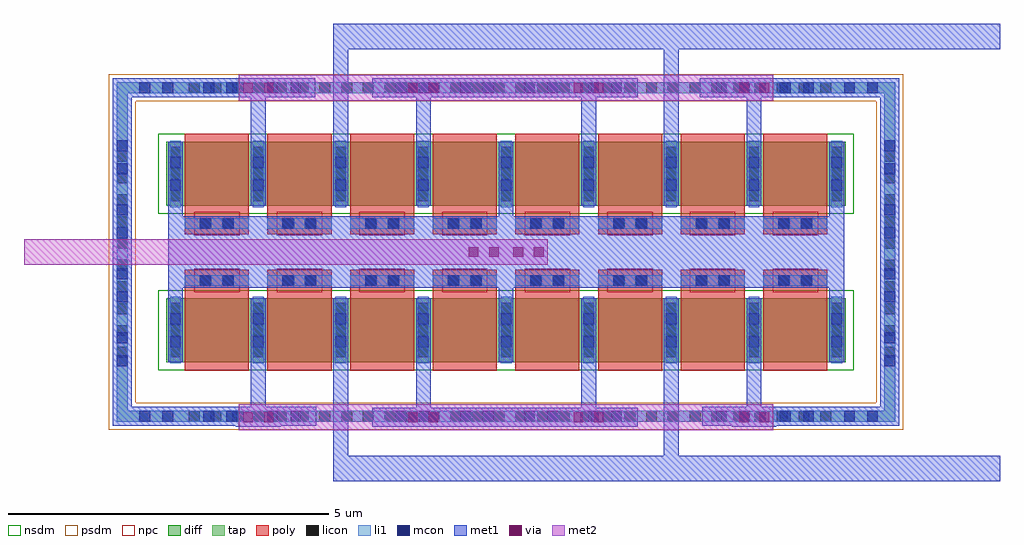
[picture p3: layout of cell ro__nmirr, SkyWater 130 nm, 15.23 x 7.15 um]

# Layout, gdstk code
from math import pi, radians
import gdstk
lib = gdstk.Library(unit=1e-6, precision=1e-09)
def R(c, l, rs):  # rectangles x0, y0, x1, y1
    for r in rs: c.add(gdstk.rectangle(r[:2], r[2:], *l))
def A(c, l, x, y, w, h, nx, ny, dx, dy):  # array of equal rectangles
    R(c, l, [(x+i*dx, y+j*dy, x+i*dx+w, y+j*dy+h) for i in range(nx) for j in range(ny)])
diff = (65, 20)
tap = (65, 44)
poly = (66, 20)
licon = (66, 44)
li1 = (67, 20)
mcon = (67, 44)
met1 = (68, 20)
via = (68, 44)
met2 = (69, 20)
nsdm = (93, 44)
psdm = (94, 20)
npc = (95, 20)

ronm__m1 = lib.new_cell('ronm__M1')
R(ronm__m1, diff, [(-0.79,-0.655,0.79,0.345)])
R(ronm__m1, poly, [(-0.5,-0.785,0.5,0.785)])
A(ronm__m1, licon, -0.73, -0.58, 0.17, 0.17, 1, 3, 0, 0.34)
A(ronm__m1, licon, 0.56, -0.58, 0.17, 0.17, 1, 3, 0, 0.34)
R(ronm__m1, licon, [(-0.255,0.535,-0.085,0.705), (0.085,0.535,0.255,0.705)])
R(ronm__m1, li1, [(-0.73,-0.675,-0.56,0.365), (0.56,-0.675,0.73,0.365), (-0.5,0.535,0.5,0.705)])
R(ronm__m1, mcon, [(-0.73,-0.42,-0.56,-0.25), (0.56,-0.42,0.73,-0.25), (-0.73,-0.06,-0.56,0.11), (0.56,-0.06,0.73,0.11), (-0.265,0.535,-0.095,0.705), (0.095,0.535,0.265,0.705)])
R(ronm__m1, met1, [(-0.76,-0.655,-0.53,0.345), (0.53,-0.655,0.76,0.345), (-0.48,0.505,0.48,0.735)])
R(ronm__m1, nsdm, [(-0.915,-0.78,0.915,0.47)])
R(ronm__m1, npc, [(-0.355,0.435,0.355,0.805)])

via__m1_m2 = lib.new_cell('via__M1_M2')
R(via__m1_m2, met1, [(0,0.05,0.7,0.35)])
R(via__m1_m2, via, [(0.115,0.125,0.265,0.275), (0.435,0.125,0.585,0.275)])
R(via__m1_m2, met2, [(0.05,0,0.65,0.4)])

ronm__guardring_n = lib.new_cell('ronm__Guardring_N')
A(ronm__guardring_n, licon, 2.57, -12, 0.17, 0.17, 30, 2, 0.34, 5.13)
A(ronm__guardring_n, licon, 1.45, -11, 0.17, 0.17, 1, 10, 0, 0.34)
A(ronm__guardring_n, licon, 13.43, -11, 0.17, 0.17, 1, 10, 0, 0.34)
ronm__guardring_n.add(gdstk.FlexPath([(1.45,-6.785),(13.515,-6.785),(13.515,-11.915),(1.535,-11.915),(1.535,-6.785)], 0.17, ends="flush", simple_path=True, layer=67, datatype=20))  # li1
ronm__guardring_n.add(gdstk.FlexPath([(1.45,-6.785),(13.515,-6.785),(13.515,-11.915),(1.535,-11.915),(1.535,-6.785)], 0.17, ends="flush", simple_path=True, layer=65, datatype=44))  # tap
ronm__guardring_n.add(gdstk.FlexPath([(1.325,-6.785),(13.515,-6.785),(13.515,-11.915),(1.535,-11.915),(1.535,-6.785)], 0.42, ends="flush", simple_path=True, layer=94, datatype=20))  # psdm

via__li_m1 = lib.new_cell('via__LI_M1')
R(via__li_m1, li1, [(0.03,0.03,0.56,0.2)])
R(via__li_m1, mcon, [(0.03,0.03,0.2,0.2), (0.39,0.03,0.56,0.2)])
R(via__li_m1, met1, [(0,0,0.59,0.23)])

ro__nmirr = lib.new_cell('ro__nmirr')
A(ro__nmirr, met1, 3.54, 4.3, 0.23, 1.695, 4, 1, 2.58, 0)
R(ro__nmirr, met1, [(4.83,0,5.06,2.86), (9.99,0,10.22,2.86), (6.12,1.15,6.35,2.86), (8.7,1.15,8.93,2.86), (3.54,1.165,3.77,2.86), (11.28,1.165,11.51,2.86), (2.25,3.02,12.8,4.14), (4.83,4.3,5.06,7.145), (9.99,4.3,10.22,7.145)])
ro__nmirr.add(gdstk.FlexPath([(2.365,2.86),(2.365,3.135),(2.53,3.135)], 0.23, ends="extended", simple_path=True, layer=68, datatype=20))  # met1
ro__nmirr.add(gdstk.FlexPath([(7.525,2.86),(7.525,3.135),(7.69,3.135)], 0.23, ends="extended", simple_path=True, layer=68, datatype=20))  # met1
ro__nmirr.add(gdstk.FlexPath([(7.525,2.86),(7.525,3.135),(7.36,3.135)], 0.23, ends="extended", simple_path=True, layer=68, datatype=20))  # met1
ro__nmirr.add(gdstk.FlexPath([(2.53,3.135),(12.52,3.135)], 0.23, ends="extended", simple_path=True, layer=68, datatype=20))  # met1
ro__nmirr.add(gdstk.FlexPath([(12.685,2.86),(12.685,3.135),(12.52,3.135)], 0.23, ends="extended", simple_path=True, layer=68, datatype=20))  # met1
ro__nmirr.add(gdstk.FlexPath([(2.365,4.3),(2.365,4.025),(2.53,4.025)], 0.23, ends="extended", simple_path=True, layer=68, datatype=20))  # met1
ro__nmirr.add(gdstk.FlexPath([(7.525,4.3),(7.525,4.025),(7.69,4.025)], 0.23, ends="extended", simple_path=True, layer=68, datatype=20))  # met1
ro__nmirr.add(gdstk.FlexPath([(7.525,4.3),(7.525,4.025),(7.36,4.025)], 0.23, ends="extended", simple_path=True, layer=68, datatype=20))  # met1
ro__nmirr.add(gdstk.FlexPath([(2.53,4.025),(12.52,4.025)], 0.23, ends="extended", simple_path=True, layer=68, datatype=20))  # met1
ro__nmirr.add(gdstk.FlexPath([(12.685,4.3),(12.685,4.025),(12.52,4.025)], 0.23, ends="extended", simple_path=True, layer=68, datatype=20))  # met1
ro__nmirr.add(gdstk.FlexPath([(4.395,6.145),(1.535,6.145),(1.535,1.015),(4.41,1.015)], 0.3, ends="extended", simple_path=True, layer=68, datatype=20))  # met1
ro__nmirr.add(gdstk.FlexPath([(10.695,6.145),(13.515,6.145),(13.515,1.015),(10.735,1.015)], 0.3, ends="extended", simple_path=True, layer=68, datatype=20))  # met1
ro__nmirr.add(gdstk.FlexPath([(5.585,1),(9.43,1)], 0.3, ends="extended", simple_path=True, layer=68, datatype=20))  # met1
ro__nmirr.add(gdstk.FlexPath([(5.585,6.145),(9.43,6.145)], 0.3, ends="extended", simple_path=True, layer=68, datatype=20))  # met1
ro__nmirr.add(gdstk.FlexPath([(5.03,6.945),(15.035,6.945)], 0.4, ends="extended", simple_path=True, layer=68, datatype=20))  # met1
ro__nmirr.add(gdstk.FlexPath([(5.03,0.2),(15.035,0.2)], 0.4, ends="extended", simple_path=True, layer=68, datatype=20))  # met1
ro__nmirr.add(gdstk.FlexPath([(7.975,3.58),(0.2,3.58)], 0.4, ends="extended", simple_path=True, layer=69, datatype=20))  # met2
ro__nmirr.add(gdstk.FlexPath([(3.555,1),(11.495,1)], 0.4, ends="extended", simple_path=True, layer=69, datatype=20))  # met2
ro__nmirr.add(gdstk.FlexPath([(3.555,6.145),(11.495,6.145)], 0.4, ends="extended", simple_path=True, layer=69, datatype=20))  # met2
ro__nmirr.add(gdstk.Reference(ronm__m1, (3.01,2.515)))
ro__nmirr.add(gdstk.Reference(ronm__m1, (4.3,2.515)))
ro__nmirr.add(gdstk.Reference(ronm__m1, (5.59,2.515)))
ro__nmirr.add(gdstk.Reference(ronm__m1, (6.88,2.515)))
ro__nmirr.add(gdstk.Reference(ronm__m1, (8.17,2.515)))
ro__nmirr.add(gdstk.Reference(ronm__m1, (9.46,2.515)))
ro__nmirr.add(gdstk.Reference(ronm__m1, (10.75,2.515)))
ro__nmirr.add(gdstk.Reference(ronm__m1, (12.04,2.515)))
ro__nmirr.add(gdstk.Reference(ronm__m1, (3.01,4.645), x_reflection=True))
ro__nmirr.add(gdstk.Reference(via__m1_m2, (11.745,5.945), rotation=pi, x_reflection=True))
ro__nmirr.add(gdstk.Reference(ronm__m1, (4.3,4.645), x_reflection=True))
ro__nmirr.add(gdstk.Reference(via__m1_m2, (9.165,5.945), rotation=pi, x_reflection=True))
ro__nmirr.add(gdstk.Reference(ronm__m1, (5.59,4.645), x_reflection=True))
ro__nmirr.add(gdstk.Reference(ronm__m1, (6.88,4.645), x_reflection=True))
ro__nmirr.add(gdstk.Reference(via__m1_m2, (6.585,5.945), rotation=pi, x_reflection=True))
ro__nmirr.add(gdstk.Reference(via__m1_m2, (4.005,5.945), rotation=pi, x_reflection=True))
ro__nmirr.add(gdstk.Reference(ronm__m1, (8.17,4.645), x_reflection=True))
ro__nmirr.add(gdstk.Reference(ronm__m1, (9.46,4.645), x_reflection=True))
ro__nmirr.add(gdstk.Reference(ronm__m1, (10.75,4.645), x_reflection=True))
ro__nmirr.add(gdstk.Reference(ronm__m1, (12.04,4.645), x_reflection=True))
ro__nmirr.add(gdstk.Reference(via__m1_m2, (7.525,3.38)))
ro__nmirr.add(gdstk.Reference(via__m1_m2, (6.825,3.38)))
ro__nmirr.add(gdstk.Reference(via__m1_m2, (11.745,1.2), rotation=pi))
ro__nmirr.add(gdstk.Reference(via__m1_m2, (9.165,1.2), rotation=pi))
ro__nmirr.add(gdstk.Reference(via__m1_m2, (6.585,1.2), rotation=pi))
ro__nmirr.add(gdstk.Reference(via__m1_m2, (4.005,1.2), rotation=pi))
ro__nmirr.add(gdstk.Reference(ronm__guardring_n, (0,12.93)))
ro__nmirr.add(gdstk.Reference(via__li_m1, (1.77,0.9)))
ro__nmirr.add(gdstk.Reference(via__li_m1, (2.77,0.9)))
ro__nmirr.add(gdstk.Reference(via__li_m1, (3.77,0.9)))
ro__nmirr.add(gdstk.Reference(via__li_m1, (8.77,0.9)))
ro__nmirr.add(gdstk.Reference(via__li_m1, (5.77,0.9)))
ro__nmirr.add(gdstk.Reference(via__li_m1, (6.77,0.9)))
ro__nmirr.add(gdstk.Reference(via__li_m1, (7.77,0.9)))
ro__nmirr.add(gdstk.Reference(via__li_m1, (8.77,6.03)))
ro__nmirr.add(gdstk.Reference(via__li_m1, (10.77,0.9)))
ro__nmirr.add(gdstk.Reference(via__li_m1, (11.77,0.9)))
ro__nmirr.add(gdstk.Reference(via__li_m1, (12.77,0.9)))
ro__nmirr.add(gdstk.Reference(via__li_m1, (1.77,6.03)))
ro__nmirr.add(gdstk.Reference(via__li_m1, (2.77,6.03)))
ro__nmirr.add(gdstk.Reference(via__li_m1, (3.77,6.03)))
ro__nmirr.add(gdstk.Reference(via__li_m1, (5.77,6.03)))
ro__nmirr.add(gdstk.Reference(via__li_m1, (6.77,6.03)))
ro__nmirr.add(gdstk.Reference(via__li_m1, (7.77,6.03)))
ro__nmirr.add(gdstk.Reference(via__li_m1, (10.77,6.03)))
ro__nmirr.add(gdstk.Reference(via__li_m1, (11.77,6.03)))
ro__nmirr.add(gdstk.Reference(via__li_m1, (12.77,6.03)))
ro__nmirr.add(gdstk.Reference(via__li_m1, (1.42,2.355), rotation=3*pi/2))
ro__nmirr.add(gdstk.Reference(via__li_m1, (1.42,3.355), rotation=3*pi/2))
ro__nmirr.add(gdstk.Reference(via__li_m1, (1.42,4.355), rotation=3*pi/2))
ro__nmirr.add(gdstk.Reference(via__li_m1, (1.42,5.355), rotation=3*pi/2))
ro__nmirr.add(gdstk.Reference(via__li_m1, (13.4,2.355), rotation=3*pi/2))
ro__nmirr.add(gdstk.Reference(via__li_m1, (13.4,3.355), rotation=3*pi/2))
ro__nmirr.add(gdstk.Reference(via__li_m1, (13.4,4.355), rotation=3*pi/2))
ro__nmirr.add(gdstk.Reference(via__li_m1, (13.4,5.355), rotation=3*pi/2))

lib.write_gds('ro__nmirr.gds')
